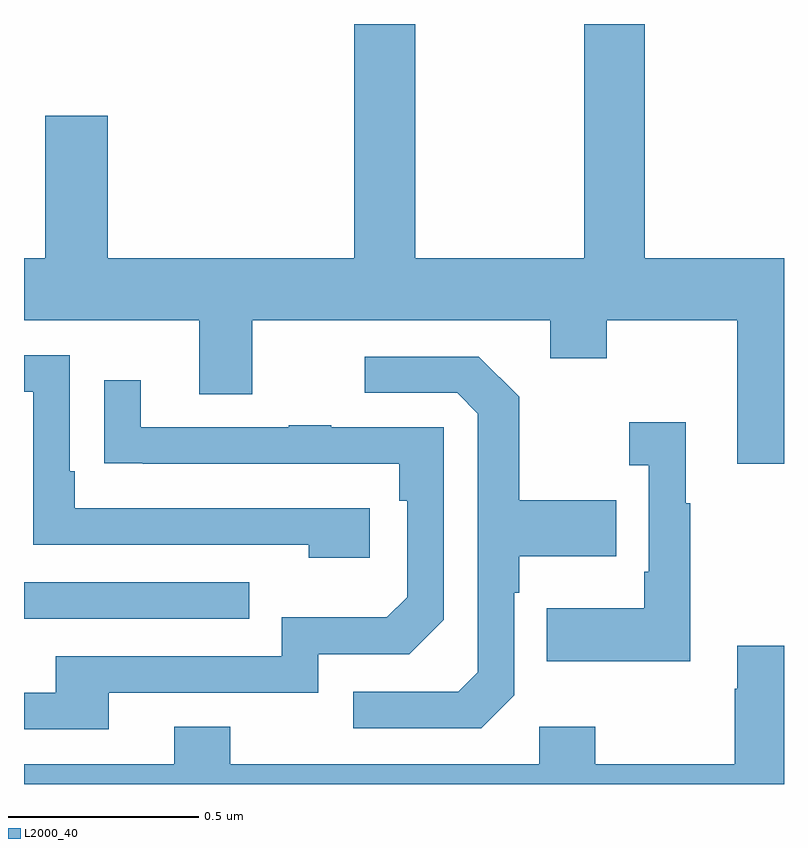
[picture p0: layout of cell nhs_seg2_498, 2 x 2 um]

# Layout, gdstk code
import gdstk
lib = gdstk.Library(unit=1e-6, precision=1e-09)
def R(c, l, rs):  # rectangles x0, y0, x1, y1
    for r in rs: c.add(gdstk.rectangle(r[:2], r[2:], *l))
def P(c, l, *ps):  # polygons
    for p in ps: c.add(gdstk.Polygon(p, *l))
L2000_40 = (2000, 40)

nhs_seg2_498 = lib.new_cell('nhs_seg2_498')
R(nhs_seg2_498, L2000_40, [(117,596.235,117.593,596.331)])
P(nhs_seg2_498, L2000_40, [(119,597.184),(118.634,597.184),(118.634,597.8),(118.474,597.8),(118.474,597.184),(118.029,597.184),(118.029,597.8),(117.869,597.8),(117.869,597.184),(117.22,597.184),(117.22,597.559),(117.056,597.559),(117.056,597.184),(117,597.184),(117,597.02),(117.461,597.02),(117.461,596.826),(117.601,596.826),(117.601,597.02),(118.385,597.02),(118.385,596.921),(118.533,596.921),(118.533,597.02),(118.877,597.02),(118.877,596.643),(119,596.643)],
  [(117.91,596.526),(117.133,596.526),(117.133,596.623),(117.12,596.623),(117.12,596.928),(117,596.928),(117,596.832),(117.024,596.832),(117.024,596.43),(117.749,596.43),(117.749,596.396),(117.91,596.396)],
  [(118.29,596.034),(118.29,596.303),(118.303,596.303),(118.303,596.399),(118.559,596.399),(118.559,596.547),(118.303,596.547),(118.303,596.819),(118.197,596.925),(117.897,596.925),(117.897,596.829),(118.14,596.829),(118.194,596.775),(118.194,596.094),(118.143,596.043),(117.867,596.043),(117.867,595.947),(118.203,595.947)],
  [(117.223,596.04),(117.774,596.04),(117.774,596.142),(118.014,596.142),(118.104,596.232),(118.104,596.739),(117.809,596.739),(117.809,596.744),(117.697,596.744),(117.697,596.739),(117.307,596.739),(117.307,596.863),(117.211,596.863),(117.211,596.644),(117.313,596.644),(117.313,596.643),(117.988,596.643),(117.988,596.546),(118.008,596.546),(118.008,596.292),(117.955,596.239),(117.678,596.239),(117.678,596.136),(117.083,596.136),(117.083,596.04),(117,596.04),(117,595.944),(117.223,595.944)],
  [(118.753,596.539),(118.741,596.539),(118.741,596.752),(118.593,596.752),(118.593,596.639),(118.644,596.639),(118.644,596.359),(118.632,596.359),(118.632,596.263),(118.375,596.263),(118.375,596.123),(118.753,596.123)],
  [(119,596.164),(118.877,596.164),(118.877,596.051),(118.87,596.051),(118.87,595.852),(118.503,595.852),(118.503,595.951),(118.356,595.951),(118.356,595.852),(117.543,595.852),(117.543,595.951),(117.395,595.951),(117.395,595.852),(117,595.852),(117,595.8),(119,595.8)])

lib.write_gds('nhs_seg2_498.gds')
